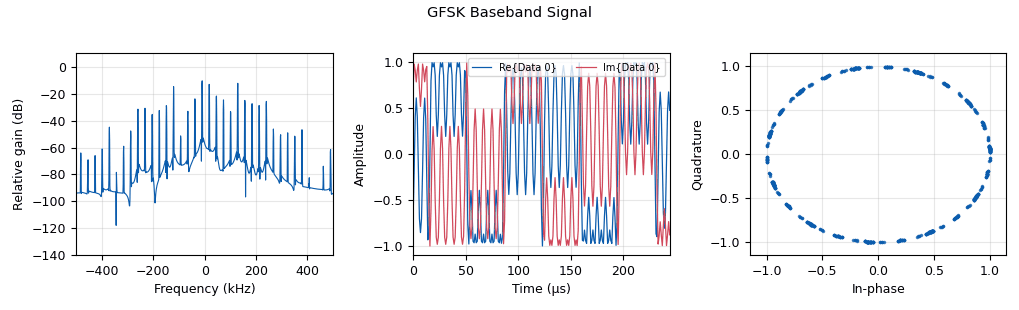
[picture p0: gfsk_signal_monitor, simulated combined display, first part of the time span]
options:
  parameters:
    author: Mohit Sharma
    category: '[Custom]'
    comment: Self-contained GFSK modulation/demodulation loopback over a simulated channel.
    description: Built-in byte test source -> GFSK Mod -> channel model -> GFSK Demod. No hardware or custom code.
    generate_options: qt_gui
    id: gfsk_mod_demod_lab
    output_language: python
    placement: (0, 0)
    title: GFSK Modulation & Demodulation Lab
  states: {}

blocks:
- name: fs
  id: variable
  parameters:
    value: 1e6
    comment: Complex baseband sample rate.
  states: {}
- name: sps
  id: variable
  parameters:
    value: '4'
    comment: Samples per bit/symbol; minimum 2 for GFSK.
  states: {}
- name: noise
  id: variable
  parameters:
    value: '0.0'
    comment: Channel noise voltage; start at zero.
  states: {}
- name: bits_in
  id: blocks_vector_source_x
  parameters:
    comment: Repeating bit-like byte sequence; GFSK Mod Unpack is disabled so each item is treated as a symbol.
    repeat: 'True'
    type: byte
    vector: '[0, 1, 0, 1, 1, 0, 1, 0, 1]'
  states: {}
- name: gfsk_mod
  id: digital_gfsk_mod
  parameters:
    samples_per_symbol: sps
    sensitivity: '1.0'
    bt: '0.35'
    do_unpack: 'False'
  states: {}
- name: channel
  id: channels_channel_model
  parameters:
    epsilon: '1.0'
    freq_offset: '0.0'
    seed: '2026'
    taps: '[1.0]'
    noise_voltage: noise
  states: {}
- name: throttle
  id: blocks_throttle2
  parameters:
    samples_per_second: fs
    type: complex
  states: {}
- name: gfsk_demod
  id: digital_gfsk_demod
  parameters:
    samples_per_symbol: sps
    sensitivity: '1.0'
    gain_mu: '0.175'
    mu: '0.5'
    omega_relative_limit: '0.005'
    freq_error: '0.0'
  states: {}
- name: bits_sink
  id: blocks_null_sink
  parameters:
    comment: Consumes recovered bit stream; use a GUI bit sink if you want to inspect individual decisions.
    type: byte
  states: {}
- name: gfsk_signal_monitor
  id: qtgui_sink_x
  parameters:
    comment: Complex GFSK signal after channel model.
    bw: fs
    fc: '0'
    fftsize: '1024'
    name: '''GFSK Baseband Signal'''
    type: complex
    wintype: window.WIN_HAMMING
  states: {}

connections:
- [bits_in, '0', gfsk_mod, '0']
- [gfsk_mod, '0', channel, '0']
- [channel, '0', throttle, '0']
- [throttle, '0', gfsk_demod, '0']
- [gfsk_demod, '0', bits_sink, '0']
- [throttle, '0', gfsk_signal_monitor, '0']

metadata:
  file_format: 1
  grc_version: 3.10.12.0
